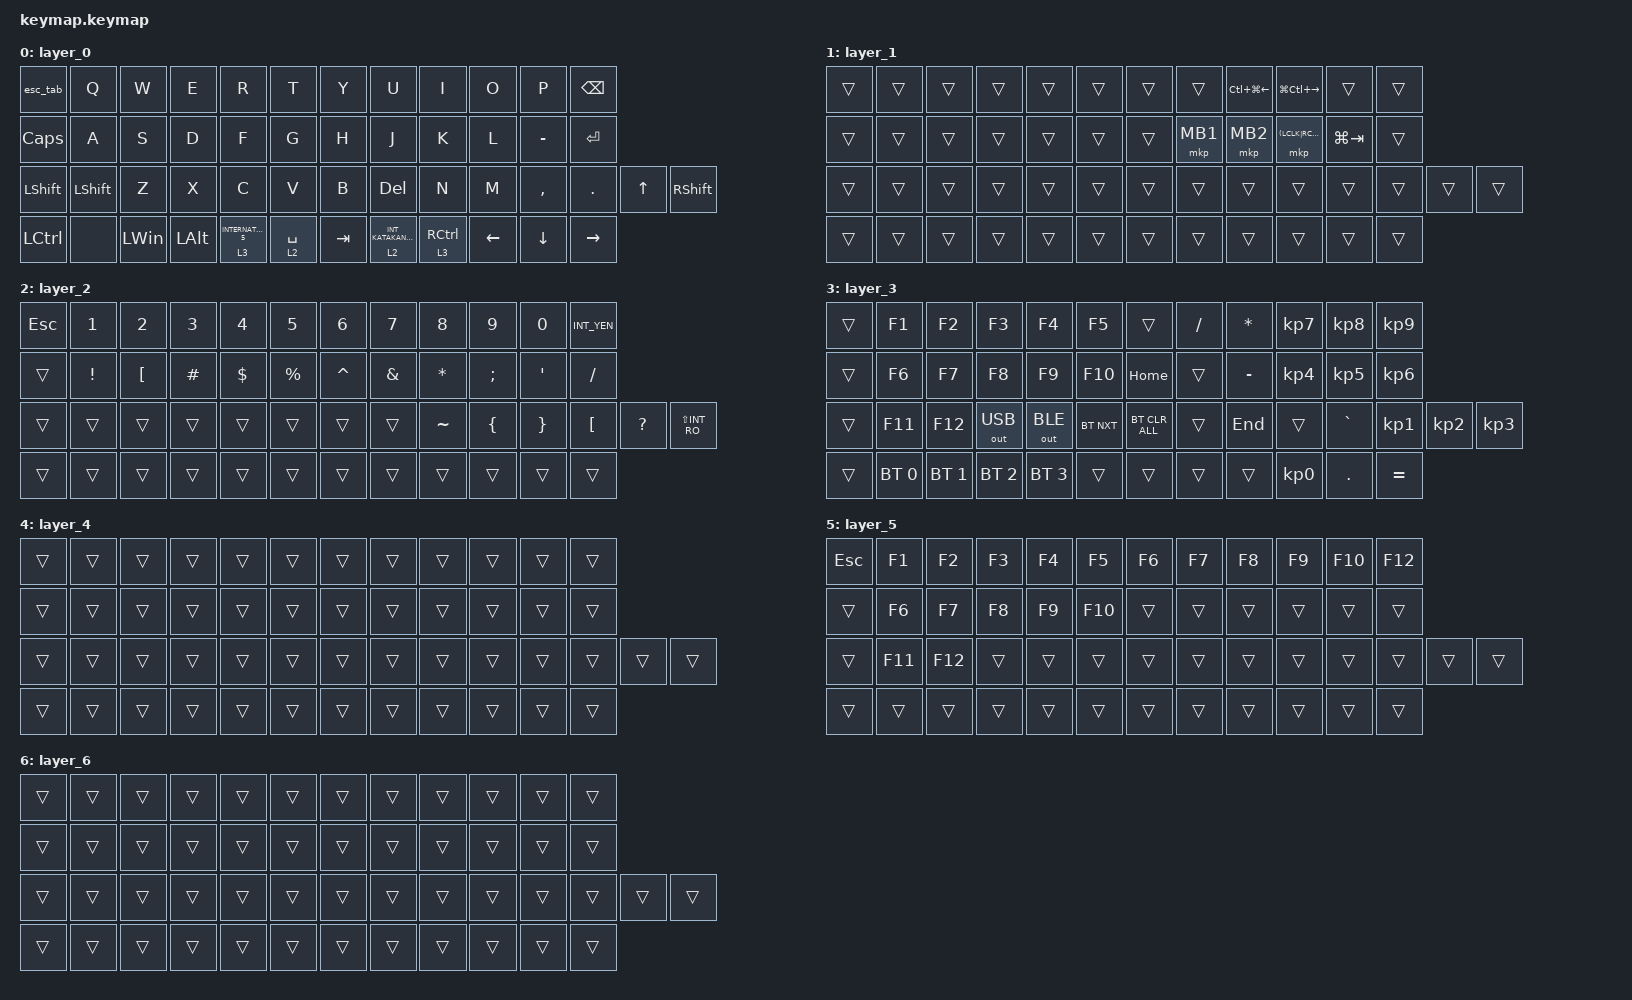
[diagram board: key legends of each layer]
#include <behaviors.dtsi>
#include <dt-bindings/zmk/bt.h>
#include <dt-bindings/zmk/keys.h>
#include <dt-bindings/zmk/outputs.h>
#include <dt-bindings/zmk/pointing.h>

/ {
    combos {
        compatible = "zmk,combos";

        bt_clear {
            bindings = <&bt BT_CLR>;
            key-positions = <28 29>;
            layers = <2>;
        };

        context {
            bindings = <&kp K_CONTEXT_MENU>;
            key-positions = <48 47>;
        };

        CtrlShift {
            bindings = <&kp RS(RCTRL)>;
            key-positions = <48 49>;
        };
    };

    behaviors {
        esc_tab: esc_tab {
            compatible = "zmk,behavior-mod-morph";
            label = "ESC_TAB";
            bindings = <&kp ESCAPE>, <&kp TAB>;

            #binding-cells = <0>;
            mods = <(MOD_LALT|MOD_LGUI)>;
            keep-mods = <(MOD_LALT|MOD_LGUI)>;
        };
    };

    keymap {
        compatible = "zmk,keymap";

        layer_0 {
            bindings = <
&esc_tab      &kp Q           &kp W         &kp E         &kp R                  &kp T        &kp Y    &kp U                       &kp I        &kp O           &kp P           &kp BSPC
&kp CAPSLOCK  &kp A           &kp S         &kp D         &kp F                  &kp G        &kp H    &kp J                       &kp K        &kp L           &kp MINUS       &kp ENTER
&kp LSHFT     &kp LEFT_SHIFT  &kp Z         &kp X         &kp C                  &kp V        &kp B    &kp DELETE                  &kp N        &kp M           &kp COMMA       &kp DOT          &kp UP_ARROW  &kp RIGHT_SHIFT
&kp LCTRL     &none           &kp LEFT_WIN  &kp LEFT_ALT  &lt 3 INTERNATIONAL_5  &lt 2 SPACE  &kp TAB  &lt 2 INT_KATAKANAHIRAGANA  &lt 3 RCTRL  &kp LEFT_ARROW  &kp DOWN_ARROW  &kp RIGHT_ARROW
            >;
        };

        layer_1 {
            bindings = <
&trans  &trans  &trans  &trans  &trans  &trans  &trans  &trans    &kp LC(LG(LEFT))  &kp LG(LC(RIGHT))  &trans       &trans
&trans  &trans  &trans  &trans  &trans  &trans  &trans  &mkp MB1  &mkp MB2          &mkp (LCLK|RCLK)          &kp LG(TAB)  &trans
&trans  &trans  &trans  &trans  &trans  &trans  &trans  &trans    &trans            &trans             &trans       &trans  &trans  &trans
&trans  &trans  &trans  &trans  &trans  &trans  &trans  &trans    &trans            &trans             &trans       &trans
            >;
        };

        layer_2 {
            bindings = <
&kp ESCAPE  &kp N1    &kp N2            &kp N3    &kp N4      &kp N5     &kp N6     &kp N7         &kp N8     &kp N9          &kp N0            &kp INT_YEN
&trans      &kp EXCL  &kp LEFT_BRACKET  &kp HASH  &kp DOLLAR  &kp PRCNT  &kp CARET  &kp AMPERSAND  &kp ASTRK  &kp SEMICOLON   &kp SINGLE_QUOTE  &kp SLASH
&trans      &trans    &trans            &trans    &trans      &trans     &trans     &trans         &kp TILDE  &kp LEFT_BRACE  &kp RIGHT_BRACE   &kp LEFT_BRACKET  &kp QUESTION  &kp LS(INT_RO)
&trans      &trans    &trans            &trans    &trans      &trans     &trans     &trans         &trans     &trans          &trans            &trans
            >;
        };

        layer_3 {
            bindings = <
&trans  &kp F1        &kp F2        &kp F3        &kp F4        &kp F5      &trans          &kp FSLH  &kp ASTRK  &kp KP_NUMBER_7  &kp KP_NUMBER_8  &kp KP_NUMBER_9
&trans  &kp F6        &kp F7        &kp F8        &kp F9        &kp F10     &kp HOME        &trans    &kp MINUS  &kp KP_NUMBER_4  &kp KP_NUMBER_5  &kp KP_NUMBER_6
&trans  &kp F11       &kp F12       &out OUT_USB  &out OUT_BLE  &bt BT_NXT  &bt BT_CLR_ALL  &trans    &kp END    &trans           &kp GRAVE        &kp KP_NUMBER_1  &kp KP_NUMBER_2  &kp KP_NUMBER_3
&trans  &bt BT_SEL 0  &bt BT_SEL 1  &bt BT_SEL 2  &bt BT_SEL 3  &trans      &trans          &trans    &trans     &kp KP_NUMBER_0  &kp DOT          &kp EQUAL
            >;
        };

        layer_4 {
            bindings = <
&trans  &trans  &trans  &trans  &trans  &trans  &trans  &trans  &trans  &trans  &trans  &trans
&trans  &trans  &trans  &trans  &trans  &trans  &trans  &trans  &trans  &trans  &trans  &trans
&trans  &trans  &trans  &trans  &trans  &trans  &trans  &trans  &trans  &trans  &trans  &trans  &trans  &trans
&trans  &trans  &trans  &trans  &trans  &trans  &trans  &trans  &trans  &trans  &trans  &trans
            >;
        };

        layer_5 {
            bindings = <
&kp ESC  &kp F1   &kp F2   &kp F3  &kp F4  &kp F5   &kp F6  &kp F7  &kp F8  &kp F9  &kp F10  &kp F12
&trans   &kp F6   &kp F7   &kp F8  &kp F9  &kp F10  &trans  &trans  &trans  &trans  &trans   &trans
&trans   &kp F11  &kp F12  &trans  &trans  &trans   &trans  &trans  &trans  &trans  &trans   &trans   &trans  &trans
&trans   &trans   &trans   &trans  &trans  &trans   &trans  &trans  &trans  &trans  &trans   &trans
            >;
        };

        layer_6 {
            bindings = <
&trans  &trans  &trans  &trans  &trans  &trans  &trans  &trans  &trans  &trans  &trans  &trans
&trans  &trans  &trans  &trans  &trans  &trans  &trans  &trans  &trans  &trans  &trans  &trans
&trans  &trans  &trans  &trans  &trans  &trans  &trans  &trans  &trans  &trans  &trans  &trans  &trans  &trans
&trans  &trans  &trans  &trans  &trans  &trans  &trans  &trans  &trans  &trans  &trans  &trans
            >;
        };
    };
};
